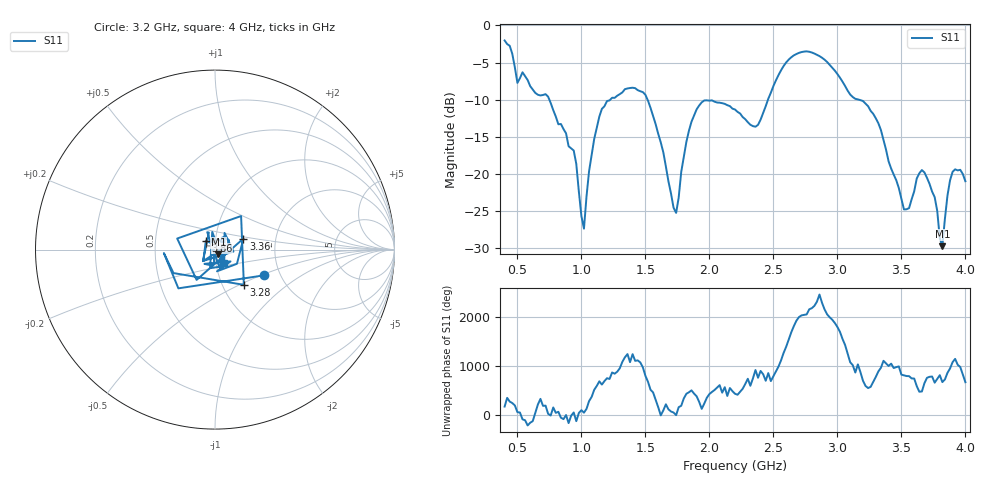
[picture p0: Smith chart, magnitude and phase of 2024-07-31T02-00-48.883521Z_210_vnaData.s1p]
!Created with skrf (http://scikit-rf.org).
# Hz S RI R 50.0
!freq ReS11 ImS11
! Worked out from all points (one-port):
!   181 points, 400 MHz to 4 GHz, reference 50 ohm
!   lowest |S11| = -29.7 dB at 3.82 GHz (marker M1), VSWR 1.07, Z = 51.9 - j2.73 ohm
!   |S11| at or under -10 dB: 749.5 MHz to 1.226 GHz (476.1 MHz wide, 48.2 % of centre); 1.517 GHz to 2.458 GHz (940.9 MHz wide, 47.3 % of centre); 3.167 GHz to end of sweep
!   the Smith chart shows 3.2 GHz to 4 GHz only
!   S11 on the Smith chart (normalised r, x): 3.2 GHz: 1.65, -0.52; 3.28 GHz: 1.26, -0.53; 3.36 GHz: 1.36, +0.17; 3.86 GHz: 0.90, +0.09; 4 GHz: 1.09, -0.16
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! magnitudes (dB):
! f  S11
! 400 MHz  -2.0
! 500 MHz  -7.7
! 860 MHz  -14.0
! 940 MHz  -16.9
! 1.02 GHz  -27.4
! 1.06 GHz  -19.6
! 1.14 GHz  -12.3
! 1.3 GHz  -9.3
! 1.5 GHz  -9.3
! 1.72 GHz  -24.5
! 1.76 GHz  -23.2
! 1.82 GHz  -15.7
! 1.9 GHz  -11.3
! 2.2 GHz  -11.3
! 2.38 GHz  -13.4
! 2.66 GHz  -4.0
! 2.88 GHz  -4.4
! 3.1 GHz  -9.3
! 3.2 GHz  -10.2
! 3.28 GHz  -11.9
! 3.36 GHz  -15.4
! 3.56 GHz  -24.6
! 3.68 GHz  -19.8
! 3.76 GHz  -23.1
! 3.82 GHz  -29.7
! 3.86 GHz  -22.9
! 3.92 GHz  -19.4
! 4 GHz  -21.0
